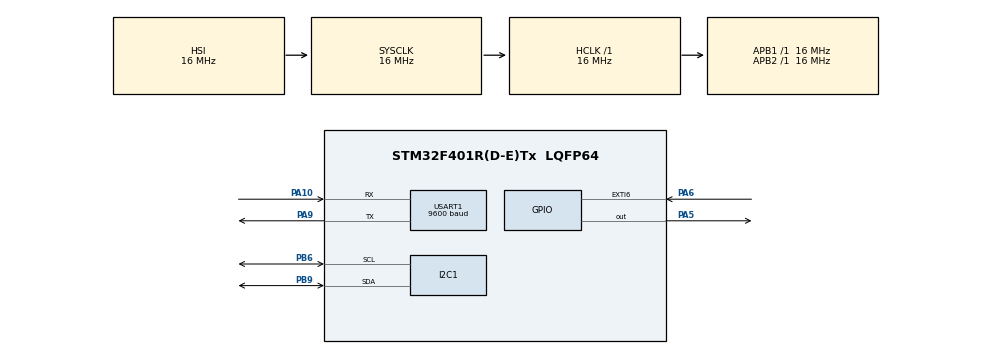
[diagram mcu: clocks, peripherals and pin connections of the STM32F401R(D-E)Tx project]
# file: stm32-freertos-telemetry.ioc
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Dma.Request0=USART1_RX
Dma.USART1_RX.0.Direction=DMA_PERIPH_TO_MEMORY
Dma.USART1_RX.0.FIFOMode=DMA_FIFOMODE_DISABLE
Dma.USART1_RX.0.Instance=DMA2_Stream2
Dma.USART1_RX.0.MemDataAlignment=DMA_MDATAALIGN_BYTE
Dma.USART1_RX.0.MemInc=DMA_MINC_ENABLE
Dma.USART1_RX.0.Mode=DMA_CIRCULAR
Dma.USART1_RX.0.PeriphDataAlignment=DMA_PDATAALIGN_BYTE
Dma.USART1_RX.0.PeriphInc=DMA_PINC_DISABLE
Dma.USART1_RX.0.Priority=DMA_PRIORITY_LOW
FREERTOS.Tasks01=defaultTask,24,128,StartDefaultTask,Default,NULL,Dynamic,NULL,NULL;gpsTask,24,1024,StartGPSTask,Default,NULL,Dynamic,NULL,NULL;imuTask,24,256,StartIMUTask,Default,NULL,Dynamic,NULL,NULL
I2C1.I2C_Mode=I2C_Fast
Mcu.Family=STM32F4
Mcu.Name=STM32F401R(D-E)Tx
Mcu.Package=LQFP64
NVIC.DMA2_Stream2_IRQn=true\:5\:0\:false\:false\:true\:true\:false\:true\:true
NVIC.EXTI9_5_IRQn=true\:6\:0\:true\:false\:true\:true\:true\:true\:true
NVIC.PriorityGroup=NVIC_PRIORITYGROUP_4
NVIC.USART1_IRQn=true\:5\:0\:false\:false\:true\:true\:true\:true\:true
PA10.Mode=Asynchronous
PA10.Signal=USART1_RX
PA5.Signal=GPIO_Output
PA6.Signal=GPXTI6
PA9.Mode=Asynchronous
PA9.Signal=USART1_TX
PB6.Mode=I2C
PB6.Signal=I2C1_SCL
PB9.Mode=I2C
PB9.Signal=I2C1_SDA
ProjectManager.HeapSize=0x200
ProjectManager.StackSize=0x400
ProjectManager.TargetToolchain=STM32CubeIDE
RCC.AHBFreq_Value=16000000
RCC.APB1Freq_Value=16000000
RCC.APB2Freq_Value=16000000
RCC.CortexFreq_Value=16000000
RCC.HSE_VALUE=25000000
RCC.HSI_VALUE=16000000
RCC.LSE_VALUE=32768
RCC.SYSCLKFreq_VALUE=16000000
RCC.VCOOutputFreq_Value=192000000
USART1.BaudRate=9600
USART1.VirtualMode=VM_ASYNC
VP_FREERTOS_VS_CMSIS_V2.Mode=CMSIS_V2
board=custom

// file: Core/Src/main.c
/* USER CODE BEGIN Header */
/**
 ******************************************************************************
 * @file           : main.c
 * @brief          : Main program body
 ******************************************************************************
 * @attention
 *
 * Copyright (c) 2026 STMicroelectronics.
 * All rights reserved.
 *
 * This software is licensed under terms that can be found in the LICENSE file
 * in the root directory of this software component.
 * If no LICENSE file comes with this software, it is provided AS-IS.
 *
 ******************************************************************************
 */
/* USER CODE END Header */
#include "main.h"
#include "cmsis_os.h"

/* USER CODE BEGIN Includes */
#include <string.h>
#include <stdio.h>
#include <math.h>
/* USER CODE END Includes */

I2C_HandleTypeDef hi2c1;

UART_HandleTypeDef huart1;
DMA_HandleTypeDef hdma_usart1_rx;

/* Definitions for defaultTask */
osThreadId_t defaultTaskHandle;
const osThreadAttr_t defaultTask_attributes = { .name = "defaultTask",
		.stack_size = 128 * 4, .priority = (osPriority_t) osPriorityNormal, };
/* Definitions for gpsTask */
osThreadId_t gpsTaskHandle;
const osThreadAttr_t gpsTask_attributes = { .name = "gpsTask", .stack_size =
		1024 * 4, .priority = (osPriority_t) osPriorityNormal, };
/* Definitions for imuTask */
osThreadId_t imuTaskHandle;
const osThreadAttr_t imuTask_attributes = { .name = "imuTask", .stack_size = 256
		* 4, .priority = (osPriority_t) osPriorityNormal, };
/* USER CODE BEGIN PV */

// GPS
#define GPS_BUFFER_SIZE 512
#define GPS_LINE_SIZE 128

uint8_t gps_dma_buffer[GPS_BUFFER_SIZE];
uint16_t received_pack_size = 0;
uint8_t line[GPS_LINE_SIZE];
uint16_t old_pos = 0;

typedef struct {
	double latitude;
	double longitude;
	float speed_kmh;
	uint32_t timestamp;
	uint8_t satellite_count;
	uint8_t is_valid;
} GPS_Data_t;

GPS_Data_t gps_data;

// IMU
#define MPU6050_ADDR (0x68 << 1)
#define RAD_TO_DEG 57.295779513f

float pitch_offset = 0.0f;
float roll_offset = 0.0f;
float gyro_x_offset = 0.0f;
float gyro_y_offset = 0.0f;
float gyro_z_offset = 0.0f;

typedef struct {
	float acc_x, acc_y, acc_z;
	float gyro_x, gyro_y, gyro_z;
	float temperature;

	float pitch;
	float roll;
	float yaw;

	uint8_t is_connected;
	uint8_t is_calibrated;
} IMU_Data_t;

IMU_Data_t imu_data;

/* USER CODE END PV */

void SystemClock_Config(void);
static void MX_GPIO_Init(void);
static void MX_DMA_Init(void);
static void MX_USART1_UART_Init(void);
static void MX_I2C1_Init(void);
void StartDefaultTask(void *argument);
void StartGPSTask(void *argument);
void StartIMUTask(void *argument);

int main(void) {

	/* MCU Configuration--------------------------------------------------------*/

	/* Reset of all peripherals, Initializes the Flash interface and the Systick. */
	HAL_Init();

	/* Configure the system clock */
	SystemClock_Config();

	/* Initialize all configured peripherals */
	MX_GPIO_Init();
	MX_DMA_Init();
	MX_USART1_UART_Init();
	MX_I2C1_Init();

	/* Init scheduler */
	osKernelInitialize();

	/* Create the thread(s) */
	/* creation of defaultTask */
	defaultTaskHandle = osThreadNew(StartDefaultTask, NULL,
			&defaultTask_attributes);

	/* creation of gpsTask */
	gpsTaskHandle = osThreadNew(StartGPSTask, NULL, &gpsTask_attributes);

	/* creation of imuTask */
	imuTaskHandle = osThreadNew(StartIMUTask, NULL, &imuTask_attributes);

	/* Start scheduler */
	osKernelStart();

	/* We should never get here as control is now taken by the scheduler */

	/* Infinite loop */
	while (1) {

	}
}

void SystemClock_Config(void) {
	RCC_OscInitTypeDef RCC_OscInitStruct = { 0 };
	RCC_ClkInitTypeDef RCC_ClkInitStruct = { 0 };

	/** Configure the main internal regulator output voltage
	 */
	__HAL_RCC_PWR_CLK_ENABLE();
	__HAL_PWR_VOLTAGESCALING_CONFIG(PWR_REGULATOR_VOLTAGE_SCALE2);

	/** Initializes the RCC Oscillators according to the specified parameters
	 * in the RCC_OscInitTypeDef structure.
	 */
	RCC_OscInitStruct.OscillatorType = RCC_OSCILLATORTYPE_HSI;
	RCC_OscInitStruct.HSIState = RCC_HSI_ON;
	RCC_OscInitStruct.HSICalibrationValue = RCC_HSICALIBRATION_DEFAULT;
	RCC_OscInitStruct.PLL.PLLState = RCC_PLL_NONE;
	if (HAL_RCC_OscConfig(&RCC_OscInitStruct) != HAL_OK) {
		Error_Handler();
	}

	/** Initializes the CPU, AHB and APB buses clocks
	 */
	RCC_ClkInitStruct.ClockType = RCC_CLOCKTYPE_HCLK | RCC_CLOCKTYPE_SYSCLK
			| RCC_CLOCKTYPE_PCLK1 | RCC_CLOCKTYPE_PCLK2;
	RCC_ClkInitStruct.SYSCLKSource = RCC_SYSCLKSOURCE_HSI;
	RCC_ClkInitStruct.AHBCLKDivider = RCC_SYSCLK_DIV1;
	RCC_ClkInitStruct.APB1CLKDivider = RCC_HCLK_DIV1;
	RCC_ClkInitStruct.APB2CLKDivider = RCC_HCLK_DIV1;

	if (HAL_RCC_ClockConfig(&RCC_ClkInitStruct, FLASH_LATENCY_0) != HAL_OK) {
		Error_Handler();
	}
}

static void MX_I2C1_Init(void) {

	hi2c1.Instance = I2C1;
	hi2c1.Init.ClockSpeed = 400000;
	hi2c1.Init.DutyCycle = I2C_DUTYCYCLE_2;
	hi2c1.Init.OwnAddress1 = 0;
	hi2c1.Init.AddressingMode = I2C_ADDRESSINGMODE_7BIT;
	hi2c1.Init.DualAddressMode = I2C_DUALADDRESS_DISABLE;
	hi2c1.Init.OwnAddress2 = 0;
	hi2c1.Init.GeneralCallMode = I2C_GENERALCALL_DISABLE;
	hi2c1.Init.NoStretchMode = I2C_NOSTRETCH_DISABLE;
	if (HAL_I2C_Init(&hi2c1) != HAL_OK) {
		Error_Handler();
	}

}

static void MX_USART1_UART_Init(void) {

	huart1.Instance = USART1;
	huart1.Init.BaudRate = 9600;
	huart1.Init.WordLength = UART_WORDLENGTH_8B;
	huart1.Init.StopBits = UART_STOPBITS_1;
	huart1.Init.Parity = UART_PARITY_NONE;
	huart1.Init.Mode = UART_MODE_TX_RX;
	huart1.Init.HwFlowCtl = UART_HWCONTROL_NONE;
	huart1.Init.OverSampling = UART_OVERSAMPLING_16;
	if (HAL_UART_Init(&huart1) != HAL_OK) {
		Error_Handler();
	}

}

static void MX_DMA_Init(void) {

	/* DMA controller clock enable */
	__HAL_RCC_DMA2_CLK_ENABLE();

	/* DMA interrupt init */
	/* DMA2_Stream2_IRQn interrupt configuration */
	HAL_NVIC_SetPriority(DMA2_Stream2_IRQn, 5, 0);
	HAL_NVIC_EnableIRQ(DMA2_Stream2_IRQn);

}

static void MX_GPIO_Init(void) {
	GPIO_InitTypeDef GPIO_InitStruct = { 0 };

	/* GPIO Ports Clock Enable */
	__HAL_RCC_GPIOA_CLK_ENABLE();
	__HAL_RCC_GPIOB_CLK_ENABLE();

	/*Configure GPIO pin Output Level */
	HAL_GPIO_WritePin(GPIOA, GPIO_PIN_5, GPIO_PIN_RESET);

	/*Configure GPIO pin : PA5 */
	GPIO_InitStruct.Pin = GPIO_PIN_5;
	GPIO_InitStruct.Mode = GPIO_MODE_OUTPUT_PP;
	GPIO_InitStruct.Pull = GPIO_NOPULL;
	GPIO_InitStruct.Speed = GPIO_SPEED_FREQ_LOW;
	HAL_GPIO_Init(GPIOA, &GPIO_InitStruct);

	/*Configure GPIO pin : PA6 */
	GPIO_InitStruct.Pin = GPIO_PIN_6;
	GPIO_InitStruct.Mode = GPIO_MODE_IT_RISING;
	GPIO_InitStruct.Pull = GPIO_NOPULL;
	HAL_GPIO_Init(GPIOA, &GPIO_InitStruct);

	/* EXTI interrupt init*/
	HAL_NVIC_SetPriority(EXTI9_5_IRQn, 6, 0);
	HAL_NVIC_EnableIRQ(EXTI9_5_IRQn);

}

/* USER CODE BEGIN 4 */
void HAL_UARTEx_RxEventCallback(UART_HandleTypeDef *huart, uint16_t Size) {
	if (huart->Instance == USART1) {
		if (__HAL_UART_GET_FLAG(huart, UART_FLAG_ORE)) {
			__HAL_UART_CLEAR_OREFLAG(huart);
			HAL_UART_DMAStop(huart);
			old_pos = 0;
			HAL_UARTEx_ReceiveToIdle_DMA(huart, gps_dma_buffer,
			GPS_BUFFER_SIZE);
			return;
		}

		received_pack_size = Size;
		osThreadFlagsSet(gpsTaskHandle, 0x0001);
	}
}

void HAL_GPIO_EXTI_Callback(uint16_t GPIO_Pin) {
	if (GPIO_Pin == GPIO_PIN_6) {
		osThreadFlagsSet(imuTaskHandle, 0x0002);
	}
}

// GPS
void Format_NMEA_Sentence(char *dest, char *src) {
	int i = 0;
	int j = 0;

	while (src[i] != '\0') {
		dest[j++] = src[i];

		if (src[i] == ',' && src[i + 1] == ',') {
			dest[j++] = '0';
		}
		i++;
	}
	dest[j] = '\0';
}

void Parse_GPS_RMC(char *nmea_sentence) {
	char formatted[128];
	Format_NMEA_Sentence(formatted, nmea_sentence);

	char msg_id[10] = { 0 };
	char utc_time[20] = { 0 };
	char status = 'V';
	double raw_lat = 0.0, raw_lon = 0.0;
	char lat_dir = 'N', lon_dir = 'E';
	float speed_knots = 0.0;

	int parsed = sscanf(formatted, "$%[^,],%[^,],%c,%lf,%c,%lf,%c,%f", msg_id,
			utc_time, &status, &raw_lat, &lat_dir, &raw_lon, &lon_dir,
			&speed_knots);

	if (parsed >= 8 && status == 'A') {
		int lat_degrees = (int) (raw_lat / 100);
		double lat_minutes = raw_lat - (lat_degrees * 100);
		gps_data.latitude = lat_degrees + (lat_minutes / 60.0);
		if (lat_dir == 'S')
			gps_data.latitude = -gps_data.latitude;

		int lon_degrees = (int) (raw_lon / 100);
		double lon_minutes = raw_lon - (lon_degrees * 100);
		gps_data.longitude = lon_degrees + (lon_minutes / 60.0);
		if (lon_dir == 'W')
			gps_data.longitude = -gps_data.longitude;

		gps_data.speed_kmh = speed_knots * 1.852f;
		gps_data.timestamp = osKernelGetTickCount();
		gps_data.is_valid = 1;
	} else {
		gps_data.is_valid = 0;
	}
}

void Parse_GPS_GGA(char *nmea_sentence) {
	char formatted[128];
	Format_NMEA_Sentence(formatted, nmea_sentence);

	char msg_id[10] = { 0 };
	char utc_time[20] = { 0 };
	double dummy_lat = 0.0, dummy_lon = 0.0;
	char dummy_char1 = 'N', dummy_char2 = 'E';
	int fix_quality = 0;
	int satellites = 0;

	int parsed = sscanf(formatted, "$%[^,],%[^,],%lf,%c,%lf,%c,%d,%d", msg_id,
			utc_time, &dummy_lat, &dummy_char1, &dummy_lon, &dummy_char2,
			&fix_quality, &satellites);

	if (parsed >= 8) {
		gps_data.satellite_count = (uint8_t) satellites;
	}
}

// IMU
void MPU6050_Init(void) {
	uint8_t check_val = 0;
	uint8_t wake_data = 0x00;
	uint8_t int_en_data = 0x01;
	uint8_t rate_div = 0x09;

	HAL_I2C_Mem_Read(&hi2c1, MPU6050_ADDR, 0x75, 1, &check_val, 1, 100);

	if (check_val == 0x68) {
		HAL_I2C_Mem_Write(&hi2c1, MPU6050_ADDR, 0x6B, 1, &wake_data, 1, 100);

		HAL_I2C_Mem_Write(&hi2c1, MPU6050_ADDR, 0x19, 1, &rate_div, 1, 100);

		HAL_I2C_Mem_Write(&hi2c1, MPU6050_ADDR, 0x38, 1, &int_en_data, 1, 100);

		imu_data.is_connected = 1;
	} else {
		imu_data.is_connected = 0;
	}
}

void MPU6050_Read_All(void) {
	uint8_t raw_buffer[14];

	if (!imu_data.is_connected)
		return;

	HAL_StatusTypeDef mem_read_result = HAL_I2C_Mem_Read(&hi2c1, MPU6050_ADDR,
			0x3B, 1, raw_buffer, 14, 100);

	if (mem_read_result == HAL_OK) {

		int16_t raw_acc_x = (int16_t) ((raw_buffer[0] << 8) | raw_buffer[1]);
		int16_t raw_acc_y = (int16_t) ((raw_buffer[2] << 8) | raw_buffer[3]);
		int16_t raw_acc_z = (int16_t) ((raw_buffer[4] << 8) | raw_buffer[5]);
		int16_t raw_temp = (int16_t) ((raw_buffer[6] << 8) | raw_buffer[7]);
		int16_t raw_gyro_x = (int16_t) ((raw_buffer[8] << 8) | raw_buffer[9]);
		int16_t raw_gyro_y = (int16_t) ((raw_buffer[10] << 8) | raw_buffer[11]);
		int16_t raw_gyro_z = (int16_t) ((raw_buffer[12] << 8) | raw_buffer[13]);

		imu_data.acc_x = (float) raw_acc_x / 16384.0f;
		imu_data.acc_y = (float) raw_acc_y / 16384.0f;
		imu_data.acc_z = (float) raw_acc_z / 16384.0f;

		imu_data.gyro_x = (float) raw_gyro_x / 131.0f;
		imu_data.gyro_y = (float) raw_gyro_y / 131.0f;
		imu_data.gyro_z = (float) raw_gyro_z / 131.0f;

		imu_data.temperature = ((float) raw_temp / 340.0f) + 36.53f;
	}
}

void MPU6050_Complementary_Filter(void) {
	if (!imu_data.is_connected)
		return;

	// 1. İvmeölçer ham statik açılarını hesapla
	float acc_pitch = atan2f(imu_data.acc_x,
			sqrtf(
					imu_data.acc_y * imu_data.acc_y
							+ imu_data.acc_z * imu_data.acc_z)) * RAD_TO_DEG;
	float acc_roll = atan2f(imu_data.acc_y, imu_data.acc_z) * RAD_TO_DEG;

	// 2. Jiroskop verilerinden kalibrasyon ofsetlerini çıkar
	float gyro_y_calibrated = imu_data.gyro_y - gyro_y_offset;
	float gyro_x_calibrated = imu_data.gyro_x - gyro_x_offset;
	float gyro_z_calibrated = imu_data.gyro_z - gyro_z_offset;

	// 3. Kalibrasyon bittiyse ivme açılarından ofsetleri düş (Geri besleme döngüsünün dışında güvenli sıfırlama)
	if (imu_data.is_calibrated) {
		acc_pitch -= pitch_offset;
		acc_roll -= roll_offset;
	}

	// 4. Agresif ve Hızlı Tümleyici Filtre (0.90 / 0.10 Oranı)
	// Not: Eğer kartı eğdiğinde açılar ters yöne gidiyorsa, aşağıdaki '+' işaretlerini '-' yapabilirsin.
	imu_data.pitch = 0.90f * (imu_data.pitch + (gyro_y_calibrated * 0.01f))
			+ 0.10f * acc_pitch;
	imu_data.roll = 0.90f * (imu_data.roll + (gyro_x_calibrated * 0.01f))
			+ 0.10f * acc_roll;
	imu_data.yaw += gyro_z_calibrated * 0.01f;
}
/* USER CODE END 4 */

void StartDefaultTask(void *argument) {
	/* USER CODE BEGIN 5 */
	/* Infinite loop */
	for (;;) {
		HAL_GPIO_TogglePin(GPIOA, GPIO_PIN_5);
		osDelay(500);
	}
	/* USER CODE END 5 */
}

void StartGPSTask(void *argument) {
	/* USER CODE BEGIN StartGPSTask */
	/* Infinite loop */
	static uint8_t line_index = 0;
	uint16_t local_pack_size = 0;

	HAL_UARTEx_ReceiveToIdle_DMA(&huart1, gps_dma_buffer, GPS_BUFFER_SIZE);

	while (1) {
		osThreadFlagsWait(0x0001, osFlagsWaitAny, osWaitForever);

		local_pack_size = received_pack_size;

		while (old_pos != local_pack_size) {
			uint8_t data = gps_dma_buffer[old_pos];

			if (data == '\n') {
				line[line_index] = '\0';

				if (line[0] == '$' && line_index > 6) {

					if (line[3] == 'R' && line[4] == 'M' && line[5] == 'C') {
						Parse_GPS_RMC((char*) line);
					} else if (line[3] == 'G' && line[4] == 'G'
							&& line[5] == 'A') {
						Parse_GPS_GGA((char*) line);
					}

				}
				line_index = 0;
			} else if (data != '\r' && data >= 32 && data <= 126) {
				if (line_index < 127) {
					line[line_index++] = data;
				}
			}

			old_pos++;
			if (old_pos >= GPS_BUFFER_SIZE) {
				old_pos = 0;
			}
		}
	}

	/* USER CODE END StartGPSTask */
}

void StartIMUTask(void *argument) {
	/* USER CODE BEGIN StartIMUTask */
	HAL_NVIC_DisableIRQ(EXTI9_5_IRQn);
	osDelay(100);
	MPU6050_Init();

	if (imu_data.is_connected) {
		uint8_t dummy_status = 0;
		HAL_I2C_Mem_Read(&hi2c1, MPU6050_ADDR, 0x3A, 1, &dummy_status, 1, 100);
		HAL_NVIC_EnableIRQ(EXTI9_5_IRQn);
	}

	// OTOMATİK KALİBRASYON (Hem Açı hem Gyro)
	if (imu_data.is_connected) {
		float pitch_sum = 0.0f;
		float roll_sum = 0.0f;
		float gyro_x_sum = 0.0f;
		float gyro_y_sum = 0.0f;
		float gyro_z_sum = 0.0f; // 🚨 Yeni
		const int cal_samples = 100;

		for (int i = 0; i < cal_samples; i++) {
			osThreadFlagsWait(0x0002, osFlagsWaitAny, osWaitForever);
			MPU6050_Read_All();
			MPU6050_Complementary_Filter();

			pitch_sum += imu_data.pitch;
			roll_sum += imu_data.roll;
			gyro_x_sum += imu_data.gyro_x;
			gyro_y_sum += imu_data.gyro_y;
			gyro_z_sum += imu_data.gyro_z; // 🚨 Yeni

			uint8_t dummy_status = 0;
			HAL_I2C_Mem_Read(&hi2c1, MPU6050_ADDR, 0x3A, 1, &dummy_status, 1,
					5);
		}

		pitch_offset = pitch_sum / (float) cal_samples;
		roll_offset = roll_sum / (float) cal_samples;
		gyro_x_offset = gyro_x_sum / (float) cal_samples;
		gyro_y_offset = gyro_y_sum / (float) cal_samples;
		gyro_z_offset = gyro_z_sum / (float) cal_samples; // 🚨 Yeni

		// Başlangıçta Yaw açısını sıfır kabul ediyoruz
		imu_data.yaw = 0.0f;

		imu_data.is_calibrated = 1;
	}

	/* Infinite loop */
	for (;;) {
		osThreadFlagsWait(0x0002, osFlagsWaitAny, osWaitForever);

		MPU6050_Read_All();
		MPU6050_Complementary_Filter();

		uint8_t dummy_status = 0;
		HAL_I2C_Mem_Read(&hi2c1, MPU6050_ADDR, 0x3A, 1, &dummy_status, 1, 5);
	}
	/* USER CODE END StartIMUTask */
}

void Error_Handler(void) {
	__disable_irq();
	while (1) {
	}
}
